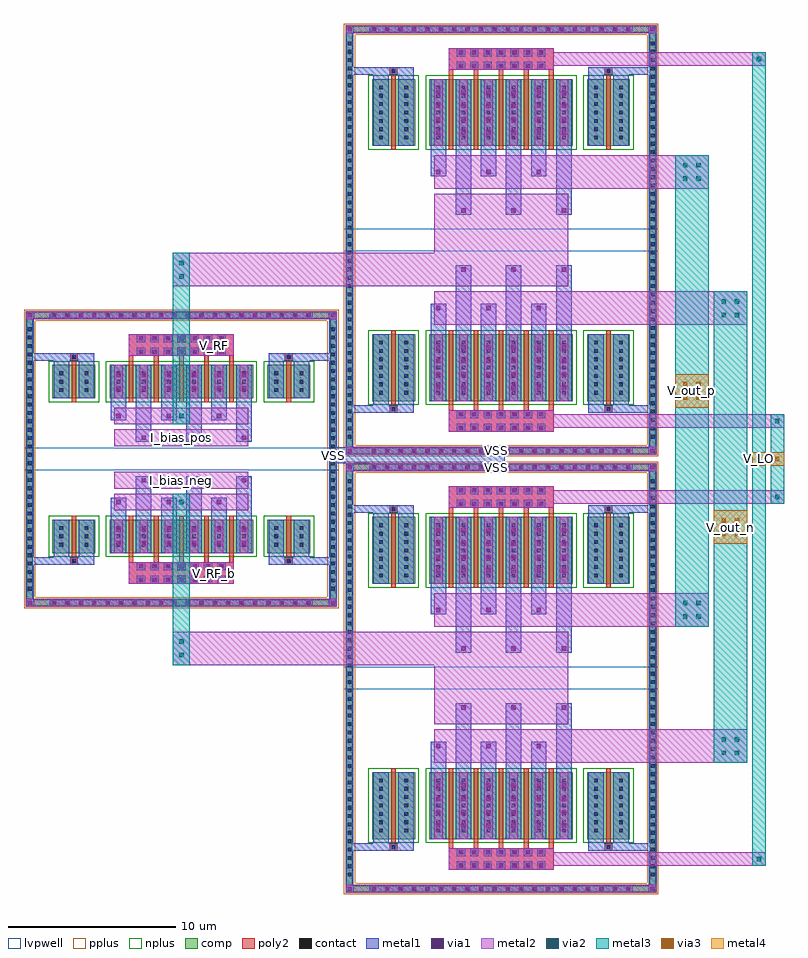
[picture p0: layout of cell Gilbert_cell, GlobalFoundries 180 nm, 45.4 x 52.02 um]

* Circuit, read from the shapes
.subckt Gilbert_cell I_bias_neg I_bias_pos VSS V_LO V_LO_b V_RF V_RF_b V_out_n V_out_p
XM1 VSS VSS VSS VSS nfet_03v3 w=2u l=0.28u m=4
XM2 I_bias_neg V_RF_b n1 VSS nfet_03v3 w=2u l=0.28u m=5
XM3 I_bias_pos V_RF n2 VSS nfet_03v3 w=2u l=0.28u m=5
XM4 VSS VSS VSS VSS nfet_03v3 w=4u l=0.28u m=8
XM5 n1 V_LO V_out_n VSS nfet_03v3 w=4u l=0.28u m=5
XM6 n1 V_LO_b V_out_p VSS nfet_03v3 w=4u l=0.28u m=5
XM7 n2 V_LO_b V_out_n VSS nfet_03v3 w=4u l=0.28u m=5
XM8 n2 V_LO V_out_p VSS nfet_03v3 w=4u l=0.28u m=5
.ends

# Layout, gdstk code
import gdstk
lib = gdstk.Library(unit=1e-6, precision=5e-09)
def R(c, l, rs):  # rectangles x0, y0, x1, y1
    for r in rs: c.add(gdstk.rectangle(r[:2], r[2:], *l))
def A(c, l, x, y, w, h, nx, ny, dx, dy):  # array of equal rectangles
    R(c, l, [(x+i*dx, y+j*dy, x+i*dx+w, y+j*dy+h) for i in range(nx) for j in range(ny)])
def P(c, l, *ps):  # polygons
    for p in ps: c.add(gdstk.Polygon(p, *l))
comp = (22, 0)
poly2 = (30, 0)
pplus = (31, 0)
nplus = (32, 0)
contact = (33, 0)
metal1 = (34, 0)
via1 = (35, 0)
metal2 = (36, 0)
via2 = (38, 0)
via3 = (40, 0)
metal3 = (42, 0)
metal4 = (46, 0)
lvpwell = (204, 0)

diff_pair_664457bf = lib.new_cell('diff_pair_664457bf')
A(diff_pair_664457bf, comp, -7.78, -12.885, 0.36, 0.36, 20, 2, 0.8, 17.18)
A(diff_pair_664457bf, comp, -9.24, -12.045, 0.36, 0.36, 1, 32, 0, 0.5)
A(diff_pair_664457bf, comp, 8.88, -12.045, 0.36, 0.36, 1, 32, 0, 0.5)
R(diff_pair_664457bf, comp, [(-7.78,-12.885,7.78,-12.525), (-9.24,-12.045,-8.88,3.815), (8.88,-12.045,9.24,3.815), (-7.7,-9.735,-5.14,-7.735), (-4.28,-9.735,4.28,-7.735), (5.14,-9.735,7.7,-7.735), (-7.7,-0.495,-5.14,1.505), (-4.28,-0.495,4.28,1.505), (5.14,-0.495,7.7,1.505), (-7.78,4.295,7.78,4.655)])
P(diff_pair_664457bf, comp, [(9.24,4.655),(-9.24,4.655),(-9.24,-12.525),(-8.88,-12.525),(-8.88,4.295),(8.88,4.295),(8.88,-12.525),(-8.88,-12.525),(-9.24,-12.525),(-9.24,-12.885),(9.24,-12.885)])
A(diff_pair_664457bf, poly2, -2.58, -11.505, 0.36, 0.36, 7, 2, 0.8, 0.8)
A(diff_pair_664457bf, poly2, -3.14, -10.275, 0.28, 0.3, 5, 2, 1.5, 12.02)
A(diff_pair_664457bf, poly2, -3.14, -9.975, 0.28, 2.48, 5, 2, 1.5, 9.24)
A(diff_pair_664457bf, poly2, -2.58, 2.115, 0.36, 0.36, 7, 2, 0.8, 0.8)
R(diff_pair_664457bf, poly2, [(-3.14,-11.575,3.14,-10.275), (-6.65,-10.435,-6.19,-9.975), (6.19,-10.435,6.65,-9.975), (-6.6,-10.385,-6.24,-10.025), (6.24,-10.385,6.6,-10.025), (-6.56,-9.975,-6.28,-7.495), (6.28,-9.975,6.56,-7.495), (-6.56,-0.735,-6.28,1.745), (6.28,-0.735,6.56,1.745), (-6.65,1.745,-6.19,2.205), (6.19,1.745,6.65,2.205), (-6.6,1.795,-6.24,2.155), (6.24,1.795,6.6,2.155), (-3.14,2.045,3.14,3.345)])
P(diff_pair_664457bf, pplus, [(9.4,4.815),(-9.4,4.815),(-9.4,-12.365),(-8.72,-12.365),(-8.72,4.135),(8.72,4.135),(8.72,-12.365),(-8.72,-12.365),(-9.4,-12.365),(-9.4,-13.045),(9.4,-13.045)])
R(diff_pair_664457bf, nplus, [(-7.93,-9.965,-4.91,-7.505), (-4.51,-9.965,4.51,-7.505), (4.91,-9.965,7.93,-7.505), (-7.93,-0.725,-4.91,1.735), (-4.51,-0.725,4.51,1.735), (4.91,-0.725,7.93,1.735)])
A(diff_pair_664457bf, contact, -7.71, -12.815, 0.22, 0.22, 20, 2, 0.8, 17.18)
A(diff_pair_664457bf, contact, -9.17, -11.975, 0.22, 0.22, 1, 32, 0, 0.5)
A(diff_pair_664457bf, contact, 8.95, -11.975, 0.22, 0.22, 1, 32, 0, 0.5)
A(diff_pair_664457bf, contact, -2.51, -11.435, 0.22, 0.22, 7, 2, 0.8, 0.8)
A(diff_pair_664457bf, contact, -7.28, -9.345, 0.22, 0.22, 1, 3, 0, 0.5)
A(diff_pair_664457bf, contact, -5.78, -9.345, 0.22, 0.22, 1, 3, 0, 0.5)
A(diff_pair_664457bf, contact, -3.86, -9.345, 0.22, 0.22, 6, 3, 1.5, 0.5)
A(diff_pair_664457bf, contact, 5.56, -9.345, 0.22, 0.22, 1, 3, 0, 0.5)
A(diff_pair_664457bf, contact, 7.06, -9.345, 0.22, 0.22, 1, 3, 0, 0.5)
A(diff_pair_664457bf, contact, -7.28, -0.105, 0.22, 0.22, 1, 3, 0, 0.5)
A(diff_pair_664457bf, contact, -5.78, -0.105, 0.22, 0.22, 1, 3, 0, 0.5)
A(diff_pair_664457bf, contact, -3.86, -0.105, 0.22, 0.22, 6, 3, 1.5, 0.5)
A(diff_pair_664457bf, contact, 5.56, -0.105, 0.22, 0.22, 1, 3, 0, 0.5)
A(diff_pair_664457bf, contact, 7.06, -0.105, 0.22, 0.22, 1, 3, 0, 0.5)
A(diff_pair_664457bf, contact, -2.51, 2.185, 0.22, 0.22, 7, 2, 0.8, 0.8)
R(diff_pair_664457bf, contact, [(-6.53,-10.315,-6.31,-10.095), (6.31,-10.315,6.53,-10.095), (-6.53,1.865,-6.31,2.085), (6.31,1.865,6.53,2.085)])
A(diff_pair_664457bf, metal1, -7.85, -12.955, 0.5, 0.5, 20, 2, 0.8, 17.18)
A(diff_pair_664457bf, metal1, -9.29, -12.095, 0.46, 0.46, 1, 32, 0, 0.5)
A(diff_pair_664457bf, metal1, 8.83, -12.095, 0.46, 0.46, 1, 32, 0, 0.5)
A(diff_pair_664457bf, metal1, -2.65, -11.575, 0.5, 0.5, 7, 2, 0.8, 0.8)
A(diff_pair_664457bf, metal1, -4.21, -9.735, 0.92, 2, 6, 2, 1.5, 9.24)
A(diff_pair_664457bf, metal1, -7.4, -9.465, 0.46, 0.46, 1, 3, 0, 0.5)
A(diff_pair_664457bf, metal1, -5.9, -9.465, 0.46, 0.46, 1, 3, 0, 0.5)
A(diff_pair_664457bf, metal1, -3.98, -9.465, 0.46, 0.46, 6, 3, 1.5, 0.5)
A(diff_pair_664457bf, metal1, 5.44, -9.465, 0.46, 0.46, 1, 3, 0, 0.5)
A(diff_pair_664457bf, metal1, 6.94, -9.465, 0.46, 0.46, 1, 3, 0, 0.5)
A(diff_pair_664457bf, metal1, -4, -9.385, 0.5, 0.5, 6, 2, 1.5, 0.8)
A(diff_pair_664457bf, metal1, -4, -9.385, 0.5, 1.3, 6, 2, 1.5, 9.24)
A(diff_pair_664457bf, metal1, -4.21, -7.735, 0.92, 1.3, 3, 2, 3, 5.94)
A(diff_pair_664457bf, metal1, -2.71, -7.735, 0.92, 2.6, 3, 2, 3, 4.64)
A(diff_pair_664457bf, metal1, -4, -6.935, 0.5, 0.5, 3, 2, 3, 5.14)
A(diff_pair_664457bf, metal1, -2.5, -5.635, 0.5, 0.5, 3, 2, 3, 2.54)
A(diff_pair_664457bf, metal1, -7.4, -0.225, 0.46, 0.46, 1, 3, 0, 0.5)
A(diff_pair_664457bf, metal1, -5.9, -0.225, 0.46, 0.46, 1, 3, 0, 0.5)
A(diff_pair_664457bf, metal1, -3.98, -0.225, 0.46, 0.46, 6, 3, 1.5, 0.5)
A(diff_pair_664457bf, metal1, 5.44, -0.225, 0.46, 0.46, 1, 3, 0, 0.5)
A(diff_pair_664457bf, metal1, 6.94, -0.225, 0.46, 0.46, 1, 3, 0, 0.5)
A(diff_pair_664457bf, metal1, -4, -0.145, 0.5, 0.5, 6, 2, 1.5, 0.8)
A(diff_pair_664457bf, metal1, -2.65, 2.045, 0.5, 0.5, 7, 2, 0.8, 0.8)
R(diff_pair_664457bf, metal1, [(-9.29,-12.955,-8.79,-12.455), (-9.29,-12.955,-8.79,-12.455), (-9.29,-12.955,-8.83,-12.525), (-7.85,-12.955,7.85,-12.455), (8.79,-12.955,9.29,-12.455), (8.79,-12.955,9.29,-12.455), (8.83,-12.955,9.29,-12.525), (-9.29,-12.525,-8.83,4.295), (8.83,-12.525,9.29,4.295), (-8.83,-10.435,-6.19,-9.975), (-7.63,-10.435,-6.65,-9.975), (-7.63,-10.435,-6.71,-9.735), (-6.65,-10.435,-6.19,-9.975), (-6.19,-10.435,-5.21,-9.975), (-6.13,-10.435,-5.21,-9.735), (5.21,-10.435,6.19,-9.975), (5.21,-10.435,6.13,-9.735), (6.19,-10.435,6.65,-9.975), (6.19,-10.435,8.83,-9.975), (6.65,-10.435,7.63,-9.975), (6.71,-10.435,7.63,-9.735), (-7.63,-9.735,-6.71,-7.735), (-6.13,-9.735,-5.21,-7.735), (5.21,-9.735,6.13,-7.735), (6.71,-9.735,7.63,-7.735), (-7.63,-0.495,-6.71,1.505), (-6.13,-0.495,-5.21,1.505), (5.21,-0.495,6.13,1.505), (6.71,-0.495,7.63,1.505), (-7.63,1.505,-6.71,2.205), (-6.13,1.505,-5.21,2.205), (5.21,1.505,6.13,2.205), (6.71,1.505,7.63,2.205), (-8.83,1.745,-6.19,2.205), (-7.63,1.745,-6.65,2.205), (-6.65,1.745,-6.19,2.205), (-6.19,1.745,-5.21,2.205), (5.21,1.745,6.19,2.205), (6.19,1.745,6.65,2.205), (6.19,1.745,8.83,2.205), (6.65,1.745,7.63,2.205), (-9.29,4.225,-8.79,4.725), (-9.29,4.225,-8.79,4.725), (-7.85,4.225,7.85,4.725), (8.79,4.225,9.29,4.725), (8.79,4.225,9.29,4.725), (-9.29,4.295,-8.83,4.725), (8.83,4.295,9.29,4.725)])
A(diff_pair_664457bf, via1, -7.73, -12.835, 0.26, 0.26, 20, 2, 0.8, 17.18)
A(diff_pair_664457bf, via1, -2.53, -11.455, 0.26, 0.26, 7, 2, 0.8, 0.8)
A(diff_pair_664457bf, via1, -3.88, -9.265, 0.26, 0.26, 6, 2, 1.5, 0.8)
A(diff_pair_664457bf, via1, -3.88, -6.815, 0.26, 0.26, 3, 2, 3, 5.14)
A(diff_pair_664457bf, via1, -2.38, -5.515, 0.26, 0.26, 3, 2, 3, 2.54)
A(diff_pair_664457bf, via1, -3.88, -0.025, 0.26, 0.26, 6, 2, 1.5, 0.8)
A(diff_pair_664457bf, via1, -2.53, 2.165, 0.26, 0.26, 7, 2, 0.8, 0.8)
R(diff_pair_664457bf, via1, [(-9.17,-12.835,-8.91,-12.575), (8.91,-12.835,9.17,-12.575), (-9.17,4.345,-8.91,4.605), (8.91,4.345,9.17,4.605)])
A(diff_pair_664457bf, metal2, -7.85, -12.955, 0.5, 0.5, 20, 2, 0.8, 17.18)
A(diff_pair_664457bf, metal2, -2.65, -11.575, 0.5, 0.5, 7, 2, 0.8, 0.8)
A(diff_pair_664457bf, metal2, -4, -9.735, 0.5, 2, 6, 2, 1.5, 9.24)
A(diff_pair_664457bf, metal2, -4, -9.385, 0.5, 0.5, 6, 2, 1.5, 0.8)
A(diff_pair_664457bf, metal2, -4, -6.935, 0.5, 0.5, 3, 2, 3, 5.14)
A(diff_pair_664457bf, metal2, -2.5, -5.635, 0.5, 0.5, 3, 2, 3, 2.54)
A(diff_pair_664457bf, metal2, -4, -0.145, 0.5, 0.5, 6, 2, 1.5, 0.8)
A(diff_pair_664457bf, metal2, -2.65, 2.045, 0.5, 0.5, 7, 2, 0.8, 0.8)
R(diff_pair_664457bf, metal2, [(-9.29,-12.955,-8.79,-12.455), (-9.29,-12.955,-8.79,-12.455), (-9.29,-12.955,-8.88,-12.455), (-8.88,-12.955,8.88,-12.455), (8.79,-12.955,9.29,-12.455), (8.79,-12.955,9.29,-12.455), (8.88,-12.955,9.29,-12.455), (-3.14,-11.575,3.14,-10.275), (-4,-7.185,4,-6.185), (-4,-5.885,4,-4.885), (-4,-3.345,4,-2.345), (-4,-2.045,4,-1.045), (-3.14,2.045,3.14,3.345), (-9.29,4.225,-8.79,4.725), (-9.29,4.225,-8.79,4.725), (-9.29,4.225,-8.88,4.725), (-8.88,4.225,8.88,4.725), (8.79,4.225,9.29,4.725), (8.79,4.225,9.29,4.725), (8.88,4.225,9.29,4.725)])
R(diff_pair_664457bf, lvpwell, [(-9.4,-13.045,9.4,-4.765), (-8.05,-11.695,8.05,-4.765), (-9.4,-3.465,9.4,4.815), (-8.05,-3.465,8.05,3.465)])

diff_pair_56ee14b3 = lib.new_cell('diff_pair_56ee14b3')
A(diff_pair_56ee14b3, comp, -7.78, -18.885, 0.36, 0.36, 20, 2, 0.8, 25.18)
A(diff_pair_56ee14b3, comp, -9.24, -18.045, 0.36, 0.36, 1, 48, 0, 0.5)
A(diff_pair_56ee14b3, comp, 8.88, -18.045, 0.36, 0.36, 1, 48, 0, 0.5)
R(diff_pair_56ee14b3, comp, [(-7.78,-18.885,7.78,-18.525), (-9.24,-18.045,-8.88,5.815), (8.88,-18.045,9.24,5.815), (-7.7,-15.735,-5.14,-11.735), (-4.28,-15.735,4.28,-11.735), (5.14,-15.735,7.7,-11.735), (-7.7,-0.495,-5.14,3.505), (-4.28,-0.495,4.28,3.505), (5.14,-0.495,7.7,3.505), (-7.78,6.295,7.78,6.655)])
P(diff_pair_56ee14b3, comp, [(9.24,6.655),(-9.24,6.655),(-9.24,-18.525),(-8.88,-18.525),(-8.88,6.295),(8.88,6.295),(8.88,-18.525),(-8.88,-18.525),(-9.24,-18.525),(-9.24,-18.885),(9.24,-18.885)])
A(diff_pair_56ee14b3, poly2, -2.58, -17.505, 0.36, 0.36, 7, 2, 0.8, 0.8)
A(diff_pair_56ee14b3, poly2, -3.14, -16.275, 0.28, 0.3, 5, 2, 1.5, 20.02)
A(diff_pair_56ee14b3, poly2, -3.14, -15.975, 0.28, 4.48, 5, 2, 1.5, 15.24)
A(diff_pair_56ee14b3, poly2, -2.58, 4.115, 0.36, 0.36, 7, 2, 0.8, 0.8)
R(diff_pair_56ee14b3, poly2, [(-3.14,-17.575,3.14,-16.275), (-6.65,-16.435,-6.19,-15.975), (6.19,-16.435,6.65,-15.975), (-6.6,-16.385,-6.24,-16.025), (6.24,-16.385,6.6,-16.025), (-6.56,-15.975,-6.28,-11.495), (6.28,-15.975,6.56,-11.495), (-6.56,-0.735,-6.28,3.745), (6.28,-0.735,6.56,3.745), (-6.65,3.745,-6.19,4.205), (6.19,3.745,6.65,4.205), (-6.6,3.795,-6.24,4.155), (6.24,3.795,6.6,4.155), (-3.14,4.045,3.14,5.345)])
P(diff_pair_56ee14b3, pplus, [(9.4,6.815),(-9.4,6.815),(-9.4,-18.365),(-8.72,-18.365),(-8.72,6.135),(8.72,6.135),(8.72,-18.365),(-8.72,-18.365),(-9.4,-18.365),(-9.4,-19.045),(9.4,-19.045)])
R(diff_pair_56ee14b3, nplus, [(-7.93,-15.965,-4.91,-11.505), (-4.51,-15.965,4.51,-11.505), (4.91,-15.965,7.93,-11.505), (-7.93,-0.725,-4.91,3.735), (-4.51,-0.725,4.51,3.735), (4.91,-0.725,7.93,3.735)])
A(diff_pair_56ee14b3, contact, -7.71, -18.815, 0.22, 0.22, 20, 2, 0.8, 25.18)
A(diff_pair_56ee14b3, contact, -9.17, -17.975, 0.22, 0.22, 1, 48, 0, 0.5)
A(diff_pair_56ee14b3, contact, 8.95, -17.975, 0.22, 0.22, 1, 48, 0, 0.5)
A(diff_pair_56ee14b3, contact, -2.51, -17.435, 0.22, 0.22, 7, 2, 0.8, 0.8)
A(diff_pair_56ee14b3, contact, -7.28, -15.345, 0.22, 0.22, 1, 7, 0, 0.5)
A(diff_pair_56ee14b3, contact, -5.78, -15.345, 0.22, 0.22, 1, 7, 0, 0.5)
A(diff_pair_56ee14b3, contact, -3.86, -15.345, 0.22, 0.22, 6, 7, 1.5, 0.5)
A(diff_pair_56ee14b3, contact, 5.56, -15.345, 0.22, 0.22, 1, 7, 0, 0.5)
A(diff_pair_56ee14b3, contact, 7.06, -15.345, 0.22, 0.22, 1, 7, 0, 0.5)
A(diff_pair_56ee14b3, contact, -7.28, -0.105, 0.22, 0.22, 1, 7, 0, 0.5)
A(diff_pair_56ee14b3, contact, -5.78, -0.105, 0.22, 0.22, 1, 7, 0, 0.5)
A(diff_pair_56ee14b3, contact, -3.86, -0.105, 0.22, 0.22, 6, 7, 1.5, 0.5)
A(diff_pair_56ee14b3, contact, 5.56, -0.105, 0.22, 0.22, 1, 7, 0, 0.5)
A(diff_pair_56ee14b3, contact, 7.06, -0.105, 0.22, 0.22, 1, 7, 0, 0.5)
A(diff_pair_56ee14b3, contact, -2.51, 4.185, 0.22, 0.22, 7, 2, 0.8, 0.8)
R(diff_pair_56ee14b3, contact, [(-6.53,-16.315,-6.31,-16.095), (6.31,-16.315,6.53,-16.095), (-6.53,3.865,-6.31,4.085), (6.31,3.865,6.53,4.085)])
A(diff_pair_56ee14b3, metal1, -7.85, -18.955, 0.5, 0.5, 20, 2, 0.8, 25.18)
A(diff_pair_56ee14b3, metal1, -9.29, -18.095, 0.46, 0.46, 1, 48, 0, 0.5)
A(diff_pair_56ee14b3, metal1, 8.83, -18.095, 0.46, 0.46, 1, 48, 0, 0.5)
A(diff_pair_56ee14b3, metal1, -2.65, -17.575, 0.5, 0.5, 7, 2, 0.8, 0.8)
A(diff_pair_56ee14b3, metal1, -4.21, -15.735, 0.92, 4, 6, 2, 1.5, 15.24)
A(diff_pair_56ee14b3, metal1, -7.4, -15.465, 0.46, 0.46, 1, 7, 0, 0.5)
A(diff_pair_56ee14b3, metal1, -5.9, -15.465, 0.46, 0.46, 1, 7, 0, 0.5)
A(diff_pair_56ee14b3, metal1, -3.98, -15.465, 0.46, 0.46, 6, 7, 1.5, 0.5)
A(diff_pair_56ee14b3, metal1, 5.44, -15.465, 0.46, 0.46, 1, 7, 0, 0.5)
A(diff_pair_56ee14b3, metal1, 6.94, -15.465, 0.46, 0.46, 1, 7, 0, 0.5)
A(diff_pair_56ee14b3, metal1, -4, -15.185, 0.5, 0.5, 6, 4, 1.5, 0.8)
A(diff_pair_56ee14b3, metal1, -4, -15.185, 0.5, 2.9, 6, 2, 1.5, 15.24)
A(diff_pair_56ee14b3, metal1, -4.21, -11.735, 0.92, 1.8, 3, 2, 3, 9.44)
A(diff_pair_56ee14b3, metal1, -2.71, -11.735, 0.92, 4.1, 3, 2, 3, 7.14)
A(diff_pair_56ee14b3, metal1, -4, -10.435, 0.5, 0.5, 3, 2, 3, 8.14)
A(diff_pair_56ee14b3, metal1, -2.5, -8.135, 0.5, 0.5, 3, 2, 3, 3.54)
A(diff_pair_56ee14b3, metal1, -7.4, -0.225, 0.46, 0.46, 1, 7, 0, 0.5)
A(diff_pair_56ee14b3, metal1, -5.9, -0.225, 0.46, 0.46, 1, 7, 0, 0.5)
A(diff_pair_56ee14b3, metal1, -3.98, -0.225, 0.46, 0.46, 6, 7, 1.5, 0.5)
A(diff_pair_56ee14b3, metal1, 5.44, -0.225, 0.46, 0.46, 1, 7, 0, 0.5)
A(diff_pair_56ee14b3, metal1, 6.94, -0.225, 0.46, 0.46, 1, 7, 0, 0.5)
A(diff_pair_56ee14b3, metal1, -4, 0.055, 0.5, 0.5, 6, 4, 1.5, 0.8)
A(diff_pair_56ee14b3, metal1, -2.65, 4.045, 0.5, 0.5, 7, 2, 0.8, 0.8)
R(diff_pair_56ee14b3, metal1, [(-9.29,-18.955,-8.79,-18.455), (-9.29,-18.955,-8.79,-18.455), (-9.29,-18.955,-8.83,-18.525), (-7.85,-18.955,7.85,-18.455), (8.79,-18.955,9.29,-18.455), (8.79,-18.955,9.29,-18.455), (8.83,-18.955,9.29,-18.525), (-9.29,-18.525,-8.83,6.295), (8.83,-18.525,9.29,6.295), (-8.83,-16.435,-6.19,-15.975), (-7.63,-16.435,-6.65,-15.975), (-7.63,-16.435,-6.71,-15.735), (-6.65,-16.435,-6.19,-15.975), (-6.19,-16.435,-5.21,-15.975), (-6.13,-16.435,-5.21,-15.735), (5.21,-16.435,6.19,-15.975), (5.21,-16.435,6.13,-15.735), (6.19,-16.435,6.65,-15.975), (6.19,-16.435,8.83,-15.975), (6.65,-16.435,7.63,-15.975), (6.71,-16.435,7.63,-15.735), (-7.63,-15.735,-6.71,-11.735), (-6.13,-15.735,-5.21,-11.735), (5.21,-15.735,6.13,-11.735), (6.71,-15.735,7.63,-11.735), (-7.63,-0.495,-6.71,3.505), (-6.13,-0.495,-5.21,3.505), (5.21,-0.495,6.13,3.505), (6.71,-0.495,7.63,3.505), (-7.63,3.505,-6.71,4.205), (-6.13,3.505,-5.21,4.205), (5.21,3.505,6.13,4.205), (6.71,3.505,7.63,4.205), (-8.83,3.745,-6.19,4.205), (-7.63,3.745,-6.65,4.205), (-6.65,3.745,-6.19,4.205), (-6.19,3.745,-5.21,4.205), (5.21,3.745,6.19,4.205), (6.19,3.745,6.65,4.205), (6.19,3.745,8.83,4.205), (6.65,3.745,7.63,4.205), (-9.29,6.225,-8.79,6.725), (-9.29,6.225,-8.79,6.725), (-7.85,6.225,7.85,6.725), (8.79,6.225,9.29,6.725), (8.79,6.225,9.29,6.725), (-9.29,6.295,-8.83,6.725), (8.83,6.295,9.29,6.725)])
A(diff_pair_56ee14b3, via1, -7.73, -18.835, 0.26, 0.26, 20, 2, 0.8, 25.18)
A(diff_pair_56ee14b3, via1, -2.53, -17.455, 0.26, 0.26, 7, 2, 0.8, 0.8)
A(diff_pair_56ee14b3, via1, -3.88, -15.065, 0.26, 0.26, 6, 4, 1.5, 0.8)
A(diff_pair_56ee14b3, via1, -3.88, -10.315, 0.26, 0.26, 3, 2, 3, 8.14)
A(diff_pair_56ee14b3, via1, -2.38, -8.015, 0.26, 0.26, 3, 2, 3, 3.54)
A(diff_pair_56ee14b3, via1, -3.88, 0.175, 0.26, 0.26, 6, 4, 1.5, 0.8)
A(diff_pair_56ee14b3, via1, -2.53, 4.165, 0.26, 0.26, 7, 2, 0.8, 0.8)
R(diff_pair_56ee14b3, via1, [(-9.17,-18.835,-8.91,-18.575), (8.91,-18.835,9.17,-18.575), (-9.17,6.345,-8.91,6.605), (8.91,6.345,9.17,6.605)])
A(diff_pair_56ee14b3, metal2, -7.85, -18.955, 0.5, 0.5, 20, 2, 0.8, 25.18)
A(diff_pair_56ee14b3, metal2, -2.65, -17.575, 0.5, 0.5, 7, 2, 0.8, 0.8)
A(diff_pair_56ee14b3, metal2, -4, -15.735, 0.5, 4, 6, 2, 1.5, 15.24)
A(diff_pair_56ee14b3, metal2, -4, -15.185, 0.5, 0.5, 6, 4, 1.5, 0.8)
A(diff_pair_56ee14b3, metal2, -4, -10.435, 0.5, 0.5, 3, 2, 3, 8.14)
A(diff_pair_56ee14b3, metal2, -2.5, -8.135, 0.5, 0.5, 3, 2, 3, 3.54)
A(diff_pair_56ee14b3, metal2, -4, 0.055, 0.5, 0.5, 6, 4, 1.5, 0.8)
A(diff_pair_56ee14b3, metal2, -2.65, 4.045, 0.5, 0.5, 7, 2, 0.8, 0.8)
R(diff_pair_56ee14b3, metal2, [(-9.29,-18.955,-8.79,-18.455), (-9.29,-18.955,-8.79,-18.455), (-9.29,-18.955,-8.88,-18.455), (-8.88,-18.955,8.88,-18.455), (8.79,-18.955,9.29,-18.455), (8.79,-18.955,9.29,-18.455), (8.88,-18.955,9.29,-18.455), (-3.14,-17.575,3.14,-16.275), (-4,-11.185,4,-9.185), (-4,-8.885,4,-6.885), (-4,-6.885,4,-5.345), (-4,-5.345,4,-3.345), (-4,-3.045,4,-1.045), (-3.14,4.045,3.14,5.345), (-9.29,6.225,-8.79,6.725), (-9.29,6.225,-8.79,6.725), (-9.29,6.225,-8.88,6.725), (-8.88,6.225,8.88,6.725), (8.79,6.225,9.29,6.725), (8.79,6.225,9.29,6.725), (8.88,6.225,9.29,6.725)])
R(diff_pair_56ee14b3, lvpwell, [(-9.4,-19.045,9.4,-6.765), (-8.05,-17.695,8.05,-6.765), (-9.4,-5.465,9.4,6.815), (-8.05,-5.465,8.05,5.465)])

diff_pair_8230b491 = lib.new_cell('diff_pair_8230b491')
A(diff_pair_8230b491, comp, -7.78, -18.885, 0.36, 0.36, 20, 2, 0.8, 25.18)
A(diff_pair_8230b491, comp, -9.24, -18.045, 0.36, 0.36, 1, 48, 0, 0.5)
A(diff_pair_8230b491, comp, 8.88, -18.045, 0.36, 0.36, 1, 48, 0, 0.5)
R(diff_pair_8230b491, comp, [(-7.78,-18.885,7.78,-18.525), (-9.24,-18.045,-8.88,5.815), (8.88,-18.045,9.24,5.815), (-7.7,-15.735,-5.14,-11.735), (-4.28,-15.735,4.28,-11.735), (5.14,-15.735,7.7,-11.735), (-7.7,-0.495,-5.14,3.505), (-4.28,-0.495,4.28,3.505), (5.14,-0.495,7.7,3.505), (-7.78,6.295,7.78,6.655)])
P(diff_pair_8230b491, comp, [(9.24,6.655),(-9.24,6.655),(-9.24,-18.525),(-8.88,-18.525),(-8.88,6.295),(8.88,6.295),(8.88,-18.525),(-8.88,-18.525),(-9.24,-18.525),(-9.24,-18.885),(9.24,-18.885)])
A(diff_pair_8230b491, poly2, -2.58, -17.505, 0.36, 0.36, 7, 2, 0.8, 0.8)
A(diff_pair_8230b491, poly2, -3.14, -16.275, 0.28, 0.3, 5, 2, 1.5, 20.02)
A(diff_pair_8230b491, poly2, -3.14, -15.975, 0.28, 4.48, 5, 2, 1.5, 15.24)
A(diff_pair_8230b491, poly2, -2.58, 4.115, 0.36, 0.36, 7, 2, 0.8, 0.8)
R(diff_pair_8230b491, poly2, [(-3.14,-17.575,3.14,-16.275), (-6.65,-16.435,-6.19,-15.975), (6.19,-16.435,6.65,-15.975), (-6.6,-16.385,-6.24,-16.025), (6.24,-16.385,6.6,-16.025), (-6.56,-15.975,-6.28,-11.495), (6.28,-15.975,6.56,-11.495), (-6.56,-0.735,-6.28,3.745), (6.28,-0.735,6.56,3.745), (-6.65,3.745,-6.19,4.205), (6.19,3.745,6.65,4.205), (-6.6,3.795,-6.24,4.155), (6.24,3.795,6.6,4.155), (-3.14,4.045,3.14,5.345)])
P(diff_pair_8230b491, pplus, [(9.4,6.815),(-9.4,6.815),(-9.4,-18.365),(-8.72,-18.365),(-8.72,6.135),(8.72,6.135),(8.72,-18.365),(-8.72,-18.365),(-9.4,-18.365),(-9.4,-19.045),(9.4,-19.045)])
R(diff_pair_8230b491, nplus, [(-7.93,-15.965,-4.91,-11.505), (-4.51,-15.965,4.51,-11.505), (4.91,-15.965,7.93,-11.505), (-7.93,-0.725,-4.91,3.735), (-4.51,-0.725,4.51,3.735), (4.91,-0.725,7.93,3.735)])
A(diff_pair_8230b491, contact, -7.71, -18.815, 0.22, 0.22, 20, 2, 0.8, 25.18)
A(diff_pair_8230b491, contact, -9.17, -17.975, 0.22, 0.22, 1, 48, 0, 0.5)
A(diff_pair_8230b491, contact, 8.95, -17.975, 0.22, 0.22, 1, 48, 0, 0.5)
A(diff_pair_8230b491, contact, -2.51, -17.435, 0.22, 0.22, 7, 2, 0.8, 0.8)
A(diff_pair_8230b491, contact, -7.28, -15.345, 0.22, 0.22, 1, 7, 0, 0.5)
A(diff_pair_8230b491, contact, -5.78, -15.345, 0.22, 0.22, 1, 7, 0, 0.5)
A(diff_pair_8230b491, contact, -3.86, -15.345, 0.22, 0.22, 6, 7, 1.5, 0.5)
A(diff_pair_8230b491, contact, 5.56, -15.345, 0.22, 0.22, 1, 7, 0, 0.5)
A(diff_pair_8230b491, contact, 7.06, -15.345, 0.22, 0.22, 1, 7, 0, 0.5)
A(diff_pair_8230b491, contact, -7.28, -0.105, 0.22, 0.22, 1, 7, 0, 0.5)
A(diff_pair_8230b491, contact, -5.78, -0.105, 0.22, 0.22, 1, 7, 0, 0.5)
A(diff_pair_8230b491, contact, -3.86, -0.105, 0.22, 0.22, 6, 7, 1.5, 0.5)
A(diff_pair_8230b491, contact, 5.56, -0.105, 0.22, 0.22, 1, 7, 0, 0.5)
A(diff_pair_8230b491, contact, 7.06, -0.105, 0.22, 0.22, 1, 7, 0, 0.5)
A(diff_pair_8230b491, contact, -2.51, 4.185, 0.22, 0.22, 7, 2, 0.8, 0.8)
R(diff_pair_8230b491, contact, [(-6.53,-16.315,-6.31,-16.095), (6.31,-16.315,6.53,-16.095), (-6.53,3.865,-6.31,4.085), (6.31,3.865,6.53,4.085)])
A(diff_pair_8230b491, metal1, -7.85, -18.955, 0.5, 0.5, 20, 2, 0.8, 25.18)
A(diff_pair_8230b491, metal1, -9.29, -18.095, 0.46, 0.46, 1, 48, 0, 0.5)
A(diff_pair_8230b491, metal1, 8.83, -18.095, 0.46, 0.46, 1, 48, 0, 0.5)
A(diff_pair_8230b491, metal1, -2.65, -17.575, 0.5, 0.5, 7, 2, 0.8, 0.8)
A(diff_pair_8230b491, metal1, -4.21, -15.735, 0.92, 4, 6, 2, 1.5, 15.24)
A(diff_pair_8230b491, metal1, -7.4, -15.465, 0.46, 0.46, 1, 7, 0, 0.5)
A(diff_pair_8230b491, metal1, -5.9, -15.465, 0.46, 0.46, 1, 7, 0, 0.5)
A(diff_pair_8230b491, metal1, -3.98, -15.465, 0.46, 0.46, 6, 7, 1.5, 0.5)
A(diff_pair_8230b491, metal1, 5.44, -15.465, 0.46, 0.46, 1, 7, 0, 0.5)
A(diff_pair_8230b491, metal1, 6.94, -15.465, 0.46, 0.46, 1, 7, 0, 0.5)
A(diff_pair_8230b491, metal1, -4, -15.185, 0.5, 0.5, 6, 4, 1.5, 0.8)
A(diff_pair_8230b491, metal1, -4, -15.185, 0.5, 2.9, 6, 2, 1.5, 15.24)
A(diff_pair_8230b491, metal1, -4.21, -11.735, 0.92, 1.8, 3, 2, 3, 9.44)
A(diff_pair_8230b491, metal1, -2.71, -11.735, 0.92, 4.1, 3, 2, 3, 7.14)
A(diff_pair_8230b491, metal1, -4, -10.435, 0.5, 0.5, 3, 2, 3, 8.14)
A(diff_pair_8230b491, metal1, -2.5, -8.135, 0.5, 0.5, 3, 2, 3, 3.54)
A(diff_pair_8230b491, metal1, -7.4, -0.225, 0.46, 0.46, 1, 7, 0, 0.5)
A(diff_pair_8230b491, metal1, -5.9, -0.225, 0.46, 0.46, 1, 7, 0, 0.5)
A(diff_pair_8230b491, metal1, -3.98, -0.225, 0.46, 0.46, 6, 7, 1.5, 0.5)
A(diff_pair_8230b491, metal1, 5.44, -0.225, 0.46, 0.46, 1, 7, 0, 0.5)
A(diff_pair_8230b491, metal1, 6.94, -0.225, 0.46, 0.46, 1, 7, 0, 0.5)
A(diff_pair_8230b491, metal1, -4, 0.055, 0.5, 0.5, 6, 4, 1.5, 0.8)
A(diff_pair_8230b491, metal1, -2.65, 4.045, 0.5, 0.5, 7, 2, 0.8, 0.8)
R(diff_pair_8230b491, metal1, [(-9.29,-18.955,-8.79,-18.455), (-9.29,-18.955,-8.79,-18.455), (-9.29,-18.955,-8.83,-18.525), (-7.85,-18.955,7.85,-18.455), (8.79,-18.955,9.29,-18.455), (8.79,-18.955,9.29,-18.455), (8.83,-18.955,9.29,-18.525), (-9.29,-18.525,-8.83,6.295), (8.83,-18.525,9.29,6.295), (-8.83,-16.435,-6.19,-15.975), (-7.63,-16.435,-6.65,-15.975), (-7.63,-16.435,-6.71,-15.735), (-6.65,-16.435,-6.19,-15.975), (-6.19,-16.435,-5.21,-15.975), (-6.13,-16.435,-5.21,-15.735), (5.21,-16.435,6.19,-15.975), (5.21,-16.435,6.13,-15.735), (6.19,-16.435,6.65,-15.975), (6.19,-16.435,8.83,-15.975), (6.65,-16.435,7.63,-15.975), (6.71,-16.435,7.63,-15.735), (-7.63,-15.735,-6.71,-11.735), (-6.13,-15.735,-5.21,-11.735), (5.21,-15.735,6.13,-11.735), (6.71,-15.735,7.63,-11.735), (-7.63,-0.495,-6.71,3.505), (-6.13,-0.495,-5.21,3.505), (5.21,-0.495,6.13,3.505), (6.71,-0.495,7.63,3.505), (-7.63,3.505,-6.71,4.205), (-6.13,3.505,-5.21,4.205), (5.21,3.505,6.13,4.205), (6.71,3.505,7.63,4.205), (-8.83,3.745,-6.19,4.205), (-7.63,3.745,-6.65,4.205), (-6.65,3.745,-6.19,4.205), (-6.19,3.745,-5.21,4.205), (5.21,3.745,6.19,4.205), (6.19,3.745,6.65,4.205), (6.19,3.745,8.83,4.205), (6.65,3.745,7.63,4.205), (-9.29,6.225,-8.79,6.725), (-9.29,6.225,-8.79,6.725), (-7.85,6.225,7.85,6.725), (8.79,6.225,9.29,6.725), (8.79,6.225,9.29,6.725), (-9.29,6.295,-8.83,6.725), (8.83,6.295,9.29,6.725)])
A(diff_pair_8230b491, via1, -7.73, -18.835, 0.26, 0.26, 20, 2, 0.8, 25.18)
A(diff_pair_8230b491, via1, -2.53, -17.455, 0.26, 0.26, 7, 2, 0.8, 0.8)
A(diff_pair_8230b491, via1, -3.88, -15.065, 0.26, 0.26, 6, 4, 1.5, 0.8)
A(diff_pair_8230b491, via1, -3.88, -10.315, 0.26, 0.26, 3, 2, 3, 8.14)
A(diff_pair_8230b491, via1, -2.38, -8.015, 0.26, 0.26, 3, 2, 3, 3.54)
A(diff_pair_8230b491, via1, -3.88, 0.175, 0.26, 0.26, 6, 4, 1.5, 0.8)
A(diff_pair_8230b491, via1, -2.53, 4.165, 0.26, 0.26, 7, 2, 0.8, 0.8)
R(diff_pair_8230b491, via1, [(-9.17,-18.835,-8.91,-18.575), (8.91,-18.835,9.17,-18.575), (-9.17,6.345,-8.91,6.605), (8.91,6.345,9.17,6.605)])
A(diff_pair_8230b491, metal2, -7.85, -18.955, 0.5, 0.5, 20, 2, 0.8, 25.18)
A(diff_pair_8230b491, metal2, -2.65, -17.575, 0.5, 0.5, 7, 2, 0.8, 0.8)
A(diff_pair_8230b491, metal2, -4, -15.735, 0.5, 4, 6, 2, 1.5, 15.24)
A(diff_pair_8230b491, metal2, -4, -15.185, 0.5, 0.5, 6, 4, 1.5, 0.8)
A(diff_pair_8230b491, metal2, -4, -10.435, 0.5, 0.5, 3, 2, 3, 8.14)
A(diff_pair_8230b491, metal2, -2.5, -8.135, 0.5, 0.5, 3, 2, 3, 3.54)
A(diff_pair_8230b491, metal2, -4, 0.055, 0.5, 0.5, 6, 4, 1.5, 0.8)
A(diff_pair_8230b491, metal2, -2.65, 4.045, 0.5, 0.5, 7, 2, 0.8, 0.8)
R(diff_pair_8230b491, metal2, [(-9.29,-18.955,-8.79,-18.455), (-9.29,-18.955,-8.79,-18.455), (-9.29,-18.955,-8.88,-18.455), (-8.88,-18.955,8.88,-18.455), (8.79,-18.955,9.29,-18.455), (8.79,-18.955,9.29,-18.455), (8.88,-18.955,9.29,-18.455), (-3.14,-17.575,3.14,-16.275), (-4,-11.185,4,-9.185), (-4,-8.885,4,-6.885), (-4,-6.885,4,-5.345), (-4,-5.345,4,-3.345), (-4,-3.045,4,-1.045), (-3.14,4.045,3.14,5.345), (-9.29,6.225,-8.79,6.725), (-9.29,6.225,-8.79,6.725), (-9.29,6.225,-8.88,6.725), (-8.88,6.225,8.88,6.725), (8.79,6.225,9.29,6.725), (8.79,6.225,9.29,6.725), (8.88,6.225,9.29,6.725)])
R(diff_pair_8230b491, lvpwell, [(-9.4,-19.045,9.4,-6.765), (-8.05,-17.695,8.05,-6.765), (-9.4,-5.465,9.4,6.815), (-8.05,-5.465,8.05,5.465)])

via_array_ee60170d = lib.new_cell('via_array_ee60170d')
R(via_array_ee60170d, metal2, [(-0.5,-0.5,0.5,0.5), (-0.25,-0.25,0.25,0.25)])
R(via_array_ee60170d, via2, [(-0.13,-0.13,0.13,0.13)])
R(via_array_ee60170d, metal3, [(-0.5,-0.5,0.5,0.5), (-0.25,-0.25,0.25,0.25)])

via_array_ee60170d_1 = lib.new_cell('via_array_ee60170d$1')
R(via_array_ee60170d_1, metal2, [(-0.5,-0.5,0.5,0.5), (-0.25,-0.25,0.25,0.25)])
R(via_array_ee60170d_1, via2, [(-0.13,-0.13,0.13,0.13)])
R(via_array_ee60170d_1, metal3, [(-0.5,-0.5,0.5,0.5), (-0.25,-0.25,0.25,0.25)])

l_route_b553b302 = lib.new_cell('L_route_b553b302')
R(l_route_b553b302, metal2, [(-0.5,-16.425,19.1,-14.425), (-0.25,-16.075,0.25,-15.575), (-0.25,-16.075,0.25,-14.775), (-0.25,-15.275,0.25,-14.775)])
R(l_route_b553b302, via2, [(-0.13,-15.955,0.13,-15.695), (-0.13,-15.155,0.13,-14.895)])
R(l_route_b553b302, metal3, [(-0.5,-16.425,0.5,-14.425), (-0.5,-16.425,0.5,-6.685), (-0.25,-16.075,0.25,-15.575), (-0.25,-15.275,0.25,-14.775)])

l_route_366271d8 = lib.new_cell('L_route_366271d8')
R(l_route_366271d8, metal2, [(-0.5,6.195,19.1,8.195), (-0.25,6.545,0.25,7.045), (-0.25,6.545,0.25,7.845), (-0.25,7.345,0.25,7.845)])
R(l_route_366271d8, via2, [(-0.13,6.665,0.13,6.925), (-0.13,7.465,0.13,7.725)])
R(l_route_366271d8, metal3, [(-0.5,-1.545,0.5,8.195), (-0.5,6.195,0.5,8.195), (-0.25,6.545,0.25,7.045), (-0.25,7.345,0.25,7.845)])

via_array_172520b6 = lib.new_cell('via_array_172520b6')
R(via_array_172520b6, via3, [(-0.53,-0.53,-0.27,-0.27), (0.27,-0.53,0.53,-0.27), (-0.53,0.27,-0.27,0.53), (0.27,0.27,0.53,0.53)])
R(via_array_172520b6, metal3, [(-1,-1,1,1), (-0.65,-0.65,-0.15,-0.15), (0.15,-0.65,0.65,-0.15), (-0.65,0.15,-0.15,0.65), (0.15,0.15,0.65,0.65)])
R(via_array_172520b6, metal4, [(-1,-1,1,1), (-0.65,-0.65,-0.15,-0.15), (0.15,-0.65,0.65,-0.15), (-0.65,0.15,-0.15,0.65), (0.15,0.15,0.65,0.65)])

via_array_172520b6_1 = lib.new_cell('via_array_172520b6$1')
R(via_array_172520b6_1, via3, [(-0.53,-0.53,-0.27,-0.27), (0.27,-0.53,0.53,-0.27), (-0.53,0.27,-0.27,0.53), (0.27,0.27,0.53,0.53)])
R(via_array_172520b6_1, metal3, [(-1,-1,1,1), (-0.65,-0.65,-0.15,-0.15), (0.15,-0.65,0.65,-0.15), (-0.65,0.15,-0.15,0.65), (0.15,0.15,0.65,0.65)])
R(via_array_172520b6_1, metal4, [(-1,-1,1,1), (-0.65,-0.65,-0.15,-0.15), (0.15,-0.65,0.65,-0.15), (-0.65,0.15,-0.15,0.65), (0.15,0.15,0.65,0.65)])

l_route_6184b712 = lib.new_cell('L_route_6184b712')
R(l_route_6184b712, metal2, [(19.1,12.035,31.5,14.035), (29.85,12.385,30.35,12.885), (29.85,12.385,31.15,13.685), (30.65,12.385,31.15,12.885), (29.85,13.185,30.35,13.685), (30.65,13.185,31.15,13.685)])
R(l_route_6184b712, via2, [(29.97,12.505,30.23,12.765), (30.77,12.505,31.03,12.765), (29.97,13.305,30.23,13.565), (30.77,13.305,31.03,13.565)])
R(l_route_6184b712, metal3, [(29.5,0.955,31.5,14.035), (29.5,12.035,31.5,14.035), (29.85,12.385,30.35,12.885), (30.65,12.385,31.15,12.885), (29.85,13.185,30.35,13.685), (30.65,13.185,31.15,13.685)])

l_route_bfefdd1c = lib.new_cell('L_route_bfefdd1c')
R(l_route_bfefdd1c, metal2, [(19.1,-14.125,31.5,-12.125), (29.85,-13.775,30.35,-13.275), (29.85,-13.775,31.15,-12.475), (30.65,-13.775,31.15,-13.275), (29.85,-12.975,30.35,-12.475), (30.65,-12.975,31.15,-12.475)])
R(l_route_bfefdd1c, via2, [(29.97,-13.655,30.23,-13.395), (30.77,-13.655,31.03,-13.395), (29.97,-12.855,30.23,-12.595), (30.77,-12.855,31.03,-12.595)])
R(l_route_bfefdd1c, metal3, [(29.5,-14.125,31.5,-12.125), (29.5,-14.125,31.5,0.955), (29.85,-13.775,30.35,-13.275), (30.65,-13.775,31.15,-13.275), (29.85,-12.975,30.35,-12.475), (30.65,-12.975,31.15,-12.475)])

l_route_9bcd56cf = lib.new_cell('L_route_9bcd56cf')
R(l_route_9bcd56cf, metal2, [(19.1,3.895,33.8,5.895), (32.15,4.245,32.65,4.745), (32.15,4.245,33.45,5.545), (32.95,4.245,33.45,4.745), (32.15,5.045,32.65,5.545), (32.95,5.045,33.45,5.545)])
R(l_route_9bcd56cf, via2, [(32.27,4.365,32.53,4.625), (33.07,4.365,33.33,4.625), (32.27,5.165,32.53,5.425), (33.07,5.165,33.33,5.425)])
R(l_route_9bcd56cf, metal3, [(31.8,-7.185,33.8,5.895), (31.8,3.895,33.8,5.895), (32.15,4.245,32.65,4.745), (32.95,4.245,33.45,4.745), (32.15,5.045,32.65,5.545), (32.95,5.045,33.45,5.545)])

l_route_1486f856 = lib.new_cell('L_route_1486f856')
R(l_route_1486f856, metal2, [(19.1,-22.265,33.8,-20.265), (32.15,-21.915,32.65,-21.415), (32.15,-21.915,33.45,-20.615), (32.95,-21.915,33.45,-21.415), (32.15,-21.115,32.65,-20.615), (32.95,-21.115,33.45,-20.615)])
R(l_route_1486f856, via2, [(32.27,-21.795,32.53,-21.535), (33.07,-21.795,33.33,-21.535), (32.27,-20.995,32.53,-20.735), (33.07,-20.995,33.33,-20.735)])
R(l_route_1486f856, metal3, [(31.8,-22.265,33.8,-20.265), (31.8,-22.265,33.8,-7.185), (32.15,-21.915,32.65,-21.415), (32.95,-21.915,33.45,-21.415), (32.15,-21.115,32.65,-20.615), (32.95,-21.115,33.45,-20.615)])

via_array_571c97c0 = lib.new_cell('via_array_571c97c0')
R(via_array_571c97c0, via3, [(-0.13,-0.13,0.13,0.13)])
R(via_array_571c97c0, metal3, [(-0.4,-0.4,0.4,0.4), (-0.25,-0.25,0.25,0.25)])
R(via_array_571c97c0, metal4, [(-0.4,-0.4,0.4,0.4), (-0.25,-0.25,0.25,0.25)])

via_array_571c97c0_1 = lib.new_cell('via_array_571c97c0$1')
R(via_array_571c97c0_1, via3, [(-0.13,-0.13,0.13,0.13)])
R(via_array_571c97c0_1, metal3, [(-0.4,-0.4,0.4,0.4), (-0.25,-0.25,0.25,0.25)])
R(via_array_571c97c0_1, metal4, [(-0.4,-0.4,0.4,0.4), (-0.25,-0.25,0.25,0.25)])

l_route_23f1e67e = lib.new_cell('L_route_23f1e67e')
R(l_route_23f1e67e, metal2, [(19.1,19.375,34.9,20.175), (34.25,19.525,34.75,20.025), (34.25,19.525,34.75,20.025)])
R(l_route_23f1e67e, via2, [(34.37,19.645,34.63,19.905)])
R(l_route_23f1e67e, metal3, [(34.1,-3.715,34.9,20.175), (34.1,19.375,34.9,20.175), (34.25,19.525,34.75,20.025)])

l_route_015043c8 = lib.new_cell('L_route_015043c8')
R(l_route_015043c8, metal2, [(19.1,-28.405,34.9,-27.605), (34.25,-28.255,34.75,-27.755), (34.25,-28.255,34.75,-27.755)])
R(l_route_015043c8, via2, [(34.37,-28.135,34.63,-27.875)])
R(l_route_015043c8, metal3, [(34.1,-28.405,34.9,-27.605), (34.1,-28.405,34.9,-3.715), (34.25,-28.255,34.75,-27.755)])

l_route_7fd83ba5 = lib.new_cell('L_route_7fd83ba5')
R(l_route_7fd83ba5, metal2, [(19.1,-2.245,36,-1.445), (35.35,-2.095,35.85,-1.595), (35.35,-2.095,35.85,-1.595)])
R(l_route_7fd83ba5, via2, [(35.47,-1.975,35.73,-1.715)])
R(l_route_7fd83ba5, metal3, [(35.2,-3.715,36,-1.445), (35.2,-2.245,36,-1.445), (35.35,-2.095,35.85,-1.595)])

l_route_2495217d = lib.new_cell('L_route_2495217d')
R(l_route_2495217d, metal2, [(19.1,-6.785,36,-5.985), (35.35,-6.635,35.85,-6.135), (35.35,-6.635,35.85,-6.135)])
R(l_route_2495217d, via2, [(35.47,-6.515,35.73,-6.255)])
R(l_route_2495217d, metal3, [(35.2,-6.785,36,-5.985), (35.2,-6.785,36,-3.715), (35.35,-6.635,35.85,-6.135)])

l_route_782e05e7 = lib.new_cell('L_route_782e05e7')
R(l_route_782e05e7, metal1, [(9.06,-4.115,19.31,-3.655), (18.39,-4.115,19.31,-3.625)])

l_route_b7658276 = lib.new_cell('L_route_b7658276')
R(l_route_b7658276, metal1, [(18.39,-4.605,19.31,-3.4), (9.06,-4.37,19.31,-3.4)])

gilbert_cell = lib.new_cell('Gilbert_cell')
gilbert_cell.add(gdstk.Reference(diff_pair_664457bf, (0,0)))
gilbert_cell.add(gdstk.Reference(diff_pair_56ee14b3, (19.1,15.08)))
gilbert_cell.add(gdstk.Reference(diff_pair_8230b491, (19.1,-11.08)))
gilbert_cell.add(gdstk.Reference(via_array_ee60170d, (0,-1.545)))
gilbert_cell.add(gdstk.Reference(via_array_ee60170d_1, (0,-6.685)))
gilbert_cell.add(gdstk.Reference(l_route_b553b302, (0,0)))
gilbert_cell.add(gdstk.Reference(l_route_366271d8, (0,0)))
gilbert_cell.add(gdstk.Reference(via_array_172520b6, (30.5,-0.045)))
gilbert_cell.add(gdstk.Reference(via_array_172520b6_1, (32.8,-8.185)))
gilbert_cell.add(gdstk.Reference(l_route_6184b712, (0,0)))
gilbert_cell.add(gdstk.Reference(l_route_bfefdd1c, (0,0)))
gilbert_cell.add(gdstk.Reference(l_route_9bcd56cf, (0,0)))
gilbert_cell.add(gdstk.Reference(l_route_1486f856, (0,0)))
gilbert_cell.add(gdstk.Reference(via_array_571c97c0, (34.5,-4.115)))
gilbert_cell.add(gdstk.Reference(via_array_571c97c0_1, (35.6,-4.115)))
gilbert_cell.add(gdstk.Reference(l_route_23f1e67e, (0,0)))
gilbert_cell.add(gdstk.Reference(l_route_015043c8, (0,0)))
gilbert_cell.add(gdstk.Reference(l_route_7fd83ba5, (0,0)))
gilbert_cell.add(gdstk.Reference(l_route_2495217d, (0,0)))
gilbert_cell.add(gdstk.Reference(l_route_782e05e7, (0,0)))
gilbert_cell.add(gdstk.Reference(l_route_b7658276, (0,0)))
gilbert_cell.add(gdstk.Label('V_out_p', (30.5,-0.045), layer=46, texttype=10))
gilbert_cell.add(gdstk.Label('V_out_n', (32.8,-8.185), layer=46, texttype=10))
gilbert_cell.add(gdstk.Label('V_LO', (34.5,-4.115), layer=46, texttype=10))
gilbert_cell.add(gdstk.Label('V_LO_b', (35.6,-4.115), layer=46, texttype=10))
gilbert_cell.add(gdstk.Label('V_RF', (2,2.695), layer=36, texttype=10))
gilbert_cell.add(gdstk.Label('V_RF_b', (2,-10.925), layer=36, texttype=10))
gilbert_cell.add(gdstk.Label('I_bias_pos', (0,-2.845), layer=36, texttype=10))
gilbert_cell.add(gdstk.Label('I_bias_neg', (0,-5.385), layer=36, texttype=10))
gilbert_cell.add(gdstk.Label('VSS', (9.06,-3.885), layer=34, texttype=10))
gilbert_cell.add(gdstk.Label('VSS', (18.85,-3.625), layer=34, texttype=10))
gilbert_cell.add(gdstk.Label('VSS', (18.85,-4.605), layer=34, texttype=10))

lib.write_gds('Gilbert_cell.gds')
